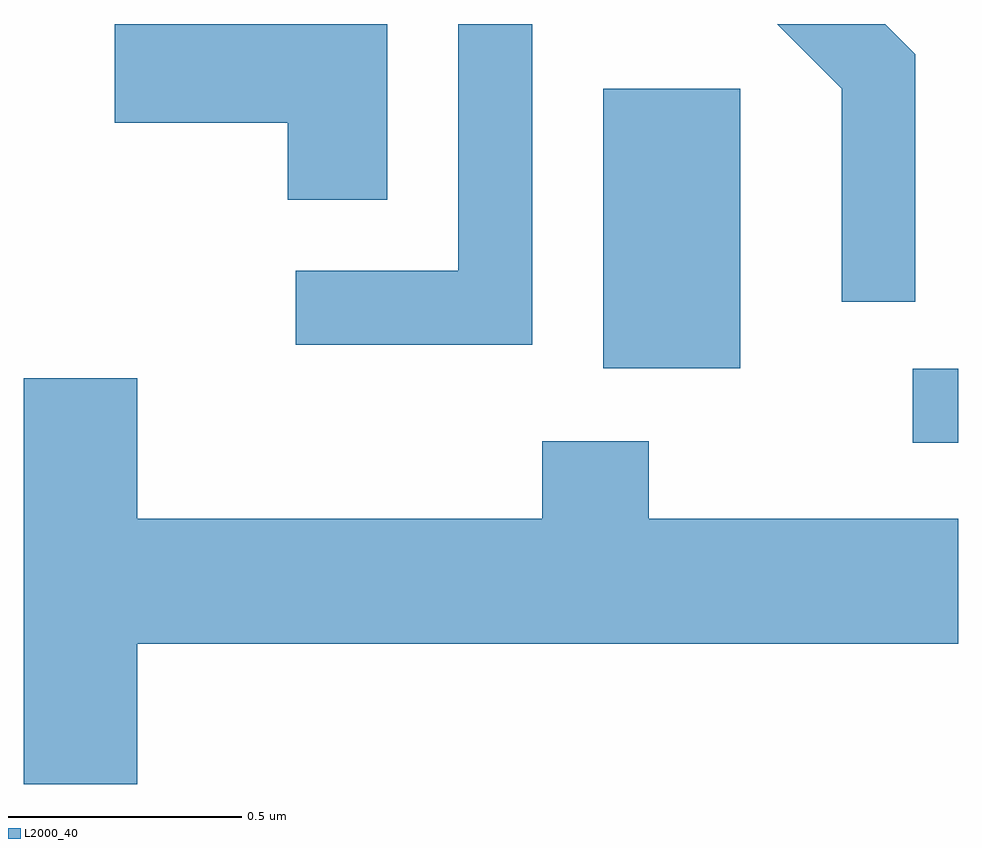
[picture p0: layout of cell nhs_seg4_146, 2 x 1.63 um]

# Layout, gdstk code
import gdstk
lib = gdstk.Library(unit=1e-6, precision=1e-09)
def R(c, l, rs):  # rectangles x0, y0, x1, y1
    for r in rs: c.add(gdstk.rectangle(r[:2], r[2:], *l))
def P(c, l, *ps):  # polygons
    for p in ps: c.add(gdstk.Polygon(p, *l))
L2000_40 = (2000, 40)

nhs_seg4_146 = lib.new_cell('nhs_seg4_146')
R(nhs_seg4_146, L2000_40, [(188.513,1264.086,188.611,1264.244), (187.851,1264.246,188.144,1264.844)])
P(nhs_seg4_146, L2000_40, [(187.699,1264.982),(187.541,1264.982),(187.541,1264.454),(187.193,1264.454),(187.193,1264.296),(187.699,1264.296)],
  [(188.519,1264.917),(188.454,1264.982),(188.223,1264.982),(188.361,1264.844),(188.361,1264.388),(188.519,1264.388)],
  [(187.389,1264.982),(186.806,1264.982),(186.806,1264.771),(187.176,1264.771),(187.176,1264.606),(187.389,1264.606)],
  [(186.854,1263.656),(188.611,1263.656),(188.611,1263.924),(187.949,1263.924),(187.949,1264.089),(187.721,1264.089),(187.721,1263.924),(186.854,1263.924),(186.854,1264.224),(186.611,1264.224),(186.611,1263.356),(186.854,1263.356)])

lib.write_gds('nhs_seg4_146.gds')
